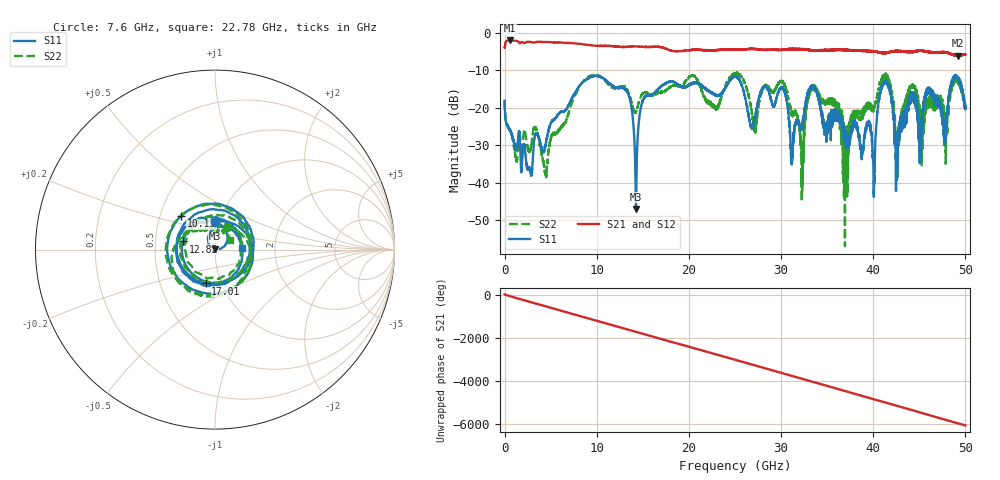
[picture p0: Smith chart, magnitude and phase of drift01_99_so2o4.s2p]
!Created with skrf (http://scikit-rf.org).
# Hz S RI R 50.0
!freq ReS11 ImS11 ReS21 ImS21 ReS12 ImS12 ReS22 ImS22
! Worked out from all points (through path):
!   10001 points, 300 kHz to 50 GHz, reference 50 ohm
!   highest |S21| = -2.00 dB at 600.3 MHz (marker M1); lowest = -6.1 dB at 49.19 GHz (marker M2)
!   group delay of S21, straight-line fit = 336 ps
!   lowest |S11| = -47.0 dB at 14.26 GHz (marker M3), VSWR 1.01, Z = 50 + j0.446 ohm
!   |S11| at or under -10 dB: start of sweep to end of sweep
!   |S22| runs from -57.0 to -10.5 dB; largest |S21 - S12| = 0.023
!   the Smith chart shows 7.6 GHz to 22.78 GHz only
!   S11 on the Smith chart (normalised r, x): 7.6 GHz: 0.95, +0.31; 10.13 GHz: 0.64, +0.26; 12.82 GHz: 0.69, +0.07; 17.01 GHz: 0.84, -0.33; 22.78 GHz: 1.35, +0.02
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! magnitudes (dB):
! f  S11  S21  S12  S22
! 300 kHz  -18.2  -4.0  -4.0  -17.8
! 600.3 MHz  -26.1  -2.0  -2.0  -26.1
! 4.445 GHz  -29.9  -2.4  -2.4  -37.4
! 7.6 GHz  -16.1  -2.8  -2.8  -16.8
! 8.335 GHz  -13.5  -3.0  -3.0  -13.5
! 10.13 GHz  -11.5  -3.5  -3.5  -11.4
! 12.82 GHz  -14.7  -3.7  -3.8  -14.2
! 14.26 GHz  -47.0  -3.6  -3.6  -21.2
! 16.67 GHz  -14.9  -3.7  -3.7  -15.9
! 17.01 GHz  -14.2  -3.8  -3.8  -15.8
! 22.78 GHz  -16.6  -4.6  -4.6  -20.0
! 25 GHz  -11.6  -4.5  -4.5  -11.0
! 27.15 GHz  -22.6  -4.3  -4.3  -25.7
! 30.2 GHz  -14.9  -4.5  -4.5  -13.4
! 32.25 GHz  -25.0  -4.3  -4.3  -37.8
! 33.34 GHz  -14.2  -4.6  -4.6  -14.6
! 37.03 GHz  -26.6  -4.5  -4.5  -33.9
! 40.07 GHz  -42.5  -4.9  -5.0  -20.0
! 41.67 GHz  -14.3  -5.0  -5.1  -12.9
! 42.56 GHz  -35.5  -4.8  -4.8  -27.9
! 49.19 GHz  -12.0  -6.1  -6.0  -12.7
! 50 GHz  -19.9  -5.8  -5.8  -19.7
